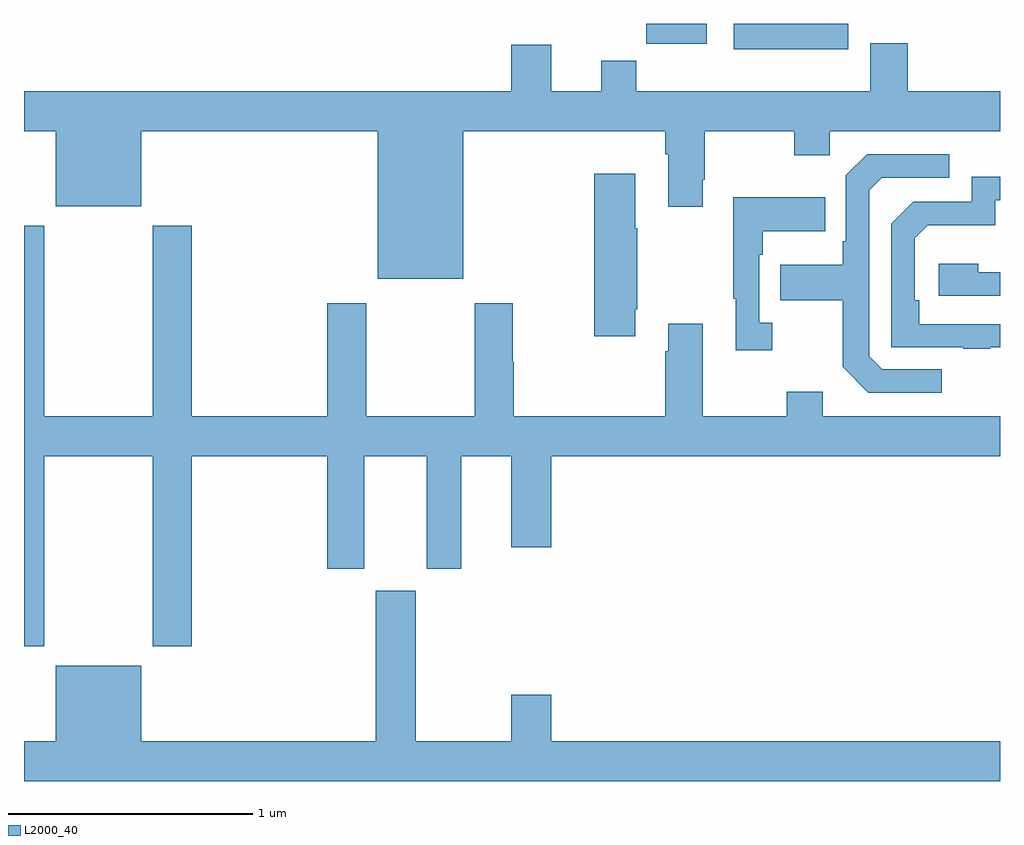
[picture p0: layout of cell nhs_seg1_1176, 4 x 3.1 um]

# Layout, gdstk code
import gdstk
lib = gdstk.Library(unit=1e-6, precision=1e-09)
def R(c, l, rs):  # rectangles x0, y0, x1, y1
    for r in rs: c.add(gdstk.rectangle(r[:2], r[2:], *l))
def P(c, l, *ps):  # polygons
    for p in ps: c.add(gdstk.Polygon(p, *l))
L2000_40 = (2000, 40)

nhs_seg1_1176 = lib.new_cell('nhs_seg1_1176')
R(nhs_seg1_1176, L2000_40, [(177.909,524.096,178.378,524.199), (177.55,524.118,177.799,524.199)])
P(nhs_seg1_1176, L2000_40, [(176.8,523.76),(177.629,523.76),(177.629,523.664),(177.641,523.664),(177.641,523.449),(177.781,523.449),(177.781,523.561),(177.789,523.561),(177.789,523.76),(178.156,523.76),(178.156,523.661),(178.302,523.661),(178.302,523.76),(179,523.76),(179,523.924),(178.622,523.924),(178.622,524.119),(178.469,524.119),(178.469,523.924),(177.509,523.924),(177.509,524.048),(177.365,524.048),(177.365,523.924),(177.16,523.924),(177.16,524.113),(176.996,524.113),(176.996,523.924),(175,523.924),(175,523.76),(175.13,523.76),(175.13,523.451),(175.48,523.451),(175.48,523.76),(176.45,523.76),(176.45,523.154),(176.8,523.154)],
  [(178.762,522.783),(178.518,522.783),(178.464,522.837),(178.464,523.518),(178.515,523.569),(178.792,523.569),(178.792,523.665),(178.455,523.665),(178.368,523.578),(178.368,523.309),(178.356,523.309),(178.356,523.213),(178.099,523.213),(178.099,523.066),(178.356,523.066),(178.356,522.793),(178.461,522.687),(178.762,522.687)],
  [(177.505,523.03),(177.513,523.03),(177.513,523.361),(177.505,523.361),(177.505,523.585),(177.338,523.585),(177.338,522.918),(177.505,522.918)],
  [(178.961,522.873),(179,522.873),(179,522.969),(178.67,522.969),(178.67,523.066),(178.65,523.066),(178.65,523.32),(178.703,523.373),(178.98,523.373),(178.98,523.476),(179,523.476),(179,523.572),(178.884,523.572),(178.884,523.47),(178.644,523.47),(178.554,523.38),(178.554,522.873),(178.849,522.873),(178.849,522.868),(178.961,522.868)],
  [(178.066,522.974),(178.014,522.974),(178.014,523.253),(178.027,523.253),(178.027,523.349),(178.283,523.349),(178.283,523.489),(177.906,523.489),(177.906,523.073),(177.917,523.073),(177.917,522.861),(178.066,522.861)],
  [(175.083,522.428),(175.528,522.428),(175.528,521.649),(175.688,521.649),(175.688,522.428),(176.243,522.428),(176.243,521.967),(176.395,521.967),(176.395,522.428),(176.651,522.428),(176.651,521.967),(176.791,521.967),(176.791,522.428),(176.996,522.428),(176.996,522.054),(177.16,522.054),(177.16,522.428),(179,522.428),(179,522.592),(178.273,522.592),(178.273,522.691),(178.126,522.691),(178.126,522.592),(177.781,522.592),(177.781,522.97),(177.641,522.97),(177.641,522.857),(177.629,522.857),(177.629,522.592),(177.008,522.592),(177.008,522.815),(177.003,522.815),(177.003,523.054),(176.848,523.054),(176.848,522.592),(176.403,522.592),(176.403,523.054),(176.243,523.054),(176.243,522.592),(175.688,522.592),(175.688,523.371),(175.528,523.371),(175.528,522.592),(175.083,522.592),(175.083,523.371),(175,523.371),(175,521.649),(175.083,521.649)],
  [(179,523.182),(178.91,523.182),(178.91,523.216),(178.749,523.216),(178.749,523.086),(179,523.086)],
  [(179,521.26),(177.16,521.26),(177.16,521.449),(176.996,521.449),(176.996,521.26),(176.605,521.26),(176.605,521.875),(176.441,521.875),(176.441,521.26),(175.48,521.26),(175.48,521.569),(175.13,521.569),(175.13,521.26),(175,521.26),(175,521.096),(179,521.096)])

lib.write_gds('nhs_seg1_1176.gds')
